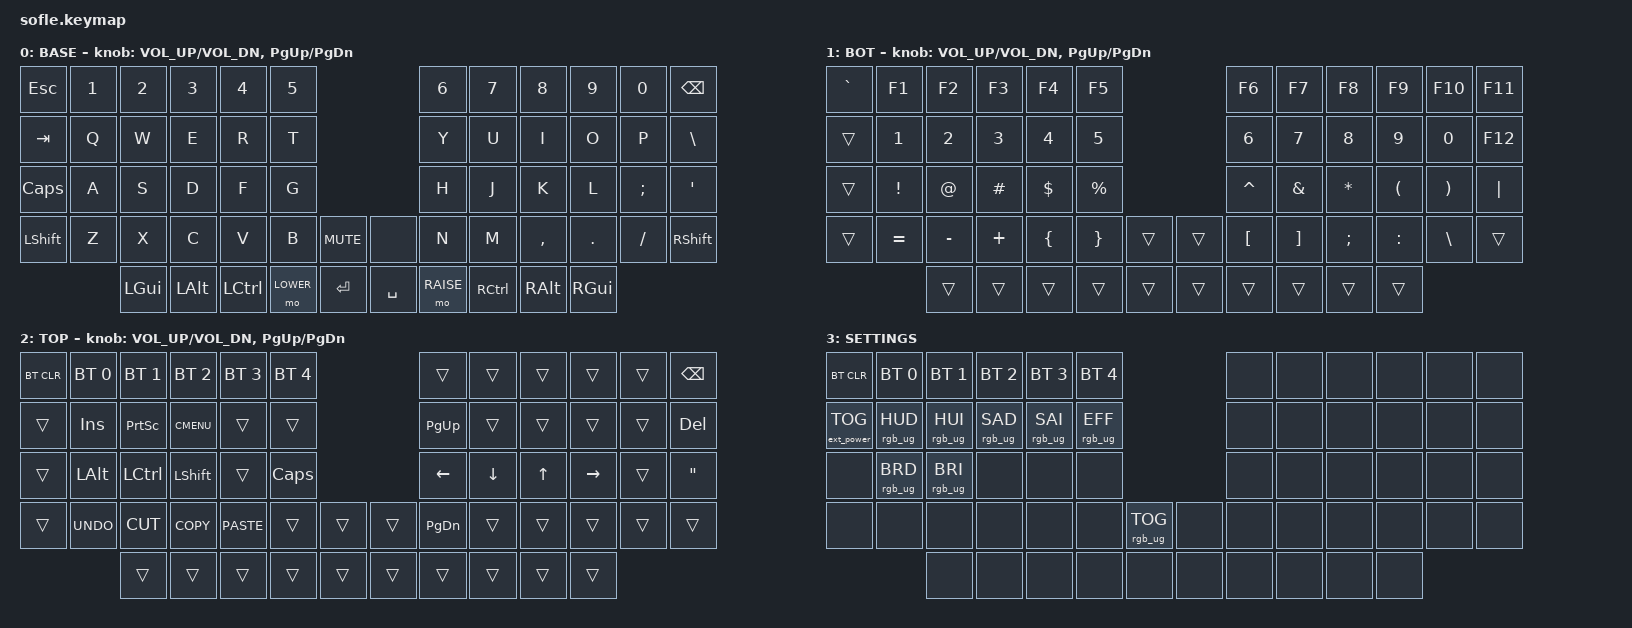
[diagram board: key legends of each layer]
/*
 * Copyright (c) 2020 The ZMK Contributors
 *
 * SPDX-License-Identifier: MIT
 */

#include <behaviors.dtsi>
#include <dt-bindings/zmk/keys.h>
#include <dt-bindings/zmk/bt.h>
#include <dt-bindings/zmk/rgb.h>
#include <dt-bindings/zmk/ext_power.h>

#define BASE 0
#define LOWER 1
#define RAISE 2
#define ADJUST 3


&nice_view_spi {
    cs-gpios = <&pro_micro 0 GPIO_ACTIVE_HIGH>;
};

/ {

   // Activate ADJUST layer by pressing raise and lower
    conditional_layers {
        compatible = "zmk,conditional-layers";
        adjust_layer {
            if-layers = <LOWER RAISE>;
            then-layer = <ADJUST>;
        };
    };

    keymap {
        compatible = "zmk,keymap";

        default_layer {
            display-name = "BASE";
// ------------------------------------------------------------------------------------------------------------
// |  ESC  |  1  |  2  |  3   |  4   |  5   |                   |  6   |  7    |  8    |  9   |   0   | BKSPC |
// |  TAB  |  Q  |  W  |  E   |  R   |  T   |                   |  Y   |  U    |  I    |  O   |   P   |   \   |
// |  CAPS |  A  |  S  |  D   |  F   |  G   |                   |  H   |  J    |  K    |  L   |   ;   |   '   |
// | SHIFT |  Z  |  X  |  C   |  V   |  B   |  MUTE  |  |       |  N   |  M    |  ,    |  .   |   /   | SHIFT |
//               | GUI | ALT  | CTRL | LOWER|  ENTER |  | SPACE | RAISE| CTRL  | ALT   | GUI  |
            bindings = <
&kp ESC   &kp N1 &kp N2   &kp N3   &kp N4    &kp N5                           &kp N6 &kp N7    &kp N8    &kp N9   &kp N0   &kp BSPC
&kp TAB   &kp Q  &kp W    &kp E    &kp R     &kp T                            &kp Y  &kp U     &kp I     &kp O    &kp P    &kp BSLH
&kp CAPS  &kp A  &kp S    &kp D    &kp F     &kp G                            &kp H  &kp J     &kp K     &kp L    &kp SEMI &kp SQT
&kp LSHFT &kp Z  &kp X    &kp C    &kp V     &kp B      &kp C_MUTE &none      &kp N  &kp M     &kp COMMA &kp DOT  &kp FSLH &kp RSHFT
                 &kp LGUI &kp LALT &kp LCTRL &mo LOWER  &kp RET    &kp SPACE  &mo RAISE  &kp RCTRL &kp RALT  &kp RGUI
            >;

            sensor-bindings = <&inc_dec_kp C_VOL_UP C_VOL_DN &inc_dec_kp PG_UP PG_DN>;
        };

        lower_layer {
            display-name = "BOT";
// TODO: Some binds are waiting for shifted keycode support.
// ------------------------------------------------------------------------------------------------------------
// |   `   |  F1 |  F2 |  F3  |  F4  |  F5  |                   |  F6  |  F7   |  F8   |  F9  |  F10  |  F11  |
// |       |  1  |  2  |  3   |  4   |  5   |                   |  6   |  7    |  8    |  9   |   0   |  F12  |
// |       |  !  |  @  |  #   |  $   |  %   |                   |  ^   |  &    |  *    |  (   |   )   |   |   |
// |       |  =  |  -  |  +   |  {   |  }   |        |  |       |  [   |  ]    |  ;    |  :   |   \   |       |
//               |     |      |      |      |        |  |       |      |       |       |      |
            bindings = <
&kp GRAVE &kp F1    &kp F2    &kp F3      &kp F4    &kp F5                    &kp F6    &kp F7   &kp F8    &kp F9    &kp F10   &kp F11
&trans    &kp N1    &kp N2    &kp N3      &kp N4    &kp N5                    &kp N6    &kp N7   &kp N8    &kp N9    &kp N0    &kp F12
&trans    &kp EXCL  &kp AT    &kp HASH    &kp DLLR  &kp PRCNT                 &kp CARET &kp AMPS &kp ASTRK &kp LPAR  &kp RPAR  &kp PIPE
&trans    &kp EQUAL &kp MINUS &kp PLUS    &kp LBRC  &kp RBRC   &trans &trans  &kp LBKT  &kp RBKT &kp SEMI  &kp COLON &kp BSLH  &trans
                    &trans    &trans      &trans    &trans     &trans &trans  &trans    &trans   &trans    &trans
            >;

            sensor-bindings = <&inc_dec_kp C_VOL_UP C_VOL_DN &inc_dec_kp PG_UP PG_DN>;
        };

        raise_layer {
            display-name = "TOP";
// ------------------------------------------------------------------------------------------------------------
// | BTCLR | BT1  | BT2  |  BT3  |  BT4  |  BT5 |                |      |      |       |      |       | BKSPC |
// |       | INS  | PSCR | GUI   |       |      |                | PGUP |      |       |      |       |  DEL  |
// |       | ALT  | CTRL | SHIFT |       | CAPS |                |  <-  |   v  |   ^   |  ->  |       |   "   |
// |       | UNDO | CUT  | COPY  | PASTE |      |      |  |      | PGDN |      |       |      |       |       |
//                |      |       |       |      |      |  |      |      |      |       |      |
            bindings = <
&bt BT_CLR &bt BT_SEL 0 &bt BT_SEL 1 &bt BT_SEL 2 &bt BT_SEL 3 &bt BT_SEL 4                  &trans    &trans    &trans   &trans    &trans  &kp BSPC
&trans     &kp INS      &kp PSCRN    &kp K_CMENU  &trans       &trans                        &kp PG_UP &trans    &trans   &trans    &trans  &kp DEL
&trans     &kp LALT     &kp LCTRL    &kp LSHFT    &trans       &kp CLCK                      &kp LEFT  &kp DOWN  &kp UP   &kp RIGHT &trans  &kp DQT
&trans     &kp K_UNDO   &kp K_CUT    &kp K_COPY   &kp K_PASTE  &trans        &trans  &trans  &kp PG_DN &trans    &trans   &trans    &trans  &trans
                        &trans       &trans       &trans       &trans        &trans  &trans  &trans    &trans    &trans   &trans
            >;

            sensor-bindings = <&inc_dec_kp C_VOL_UP C_VOL_DN &inc_dec_kp PG_UP PG_DN>;
        };

        adjust_layer {
// ----------------------------------------------------------------------------------------------------------------------------
// | BTCLR  |  BT1    |  BT2    |   BT3   |   BT4   |   BT5   |                  |      |      |       |      |       |       |
// | EXTPWR | RGB_HUD | RGB_HUI | RGB_SAD | RGB_SAI | RGB_EFF |                  |      |      |       |      |       |       |
// |        | RGB_BRD | RGB_BRI |         |         |         |                  |      |      |       |      |       |       |
// |        |         |         |         |         |         | RGB_TOG | |      |      |      |       |      |       |       |
//                    |         |         |         |         |         | |      |      |      |       |      |
            display-name = "SETTINGS";
            bindings = <
&bt BT_CLR        &bt BT_SEL 0    &bt BT_SEL 1    &bt BT_SEL 2    &bt BT_SEL 3    &bt BT_SEL 4                            &none &none &none &none &none &none
&ext_power EP_TOG &rgb_ug RGB_HUD &rgb_ug RGB_HUI &rgb_ug RGB_SAD &rgb_ug RGB_SAI &rgb_ug RGB_EFF                         &none &none &none &none &none &none
&none             &rgb_ug RGB_BRD &rgb_ug RGB_BRI &none           &none           &none                                   &none &none &none &none &none &none
&none             &none           &none           &none           &none           &none            &rgb_ug RGB_TOG &none  &none &none &none &none &none &none
                                  &none           &none           &none           &none            &none           &none  &none &none &none &none
            >;
        };

    };
};
